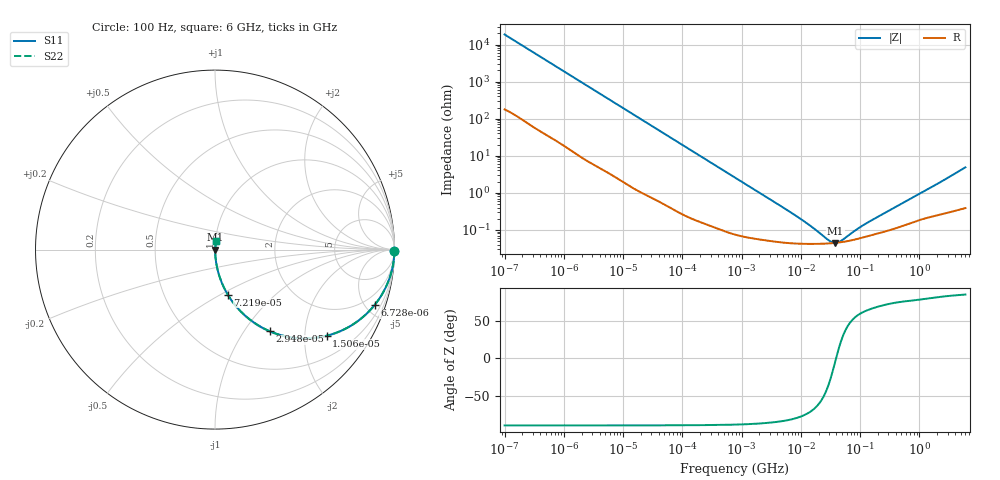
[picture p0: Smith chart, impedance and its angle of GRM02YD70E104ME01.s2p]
!Murata Part Number: GRM02YD70E104ME01
!These Parameters are Measured in Series Mode Connection
!Data Generated on Mar 30, 2021
!  o--ll--o
!Port1  Port2
!  o------o
!Operation Temp=25[degC], DC Bias Voltage=0[V]
!Freq. Start=100[Hz] Stop=6[GHz] 401[Steps]
# Hz S RI R 50
!Freq.(Hz) S11(Real) S11(Imag) S21(Real) S21(Imag) S12(Real) S12(Imag) S22(Real) S22(Imag)
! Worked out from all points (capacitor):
!   401 points, 100 Hz to 6 GHz, reference 50 ohm
!   read as one part in series: C = 84.6 nF near 109 Hz
!   lowest |Z| = 44.4 mohm at 38.09 MHz (marker M1)
!   series resonance near 39.29 MHz, so ESL is about 190 pH
!   S11 on the Smith chart (normalised r, x): 100 Hz: open; 6.728 kHz: 1.06, -5.73; 15.06 kHz: 1.03, -2.57; 29.48 kHz: 1.01, -1.32; 72.19 kHz: 1.01, -0.54; 6 GHz: 1.01, +0.10
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100  0.9999 -0.00533  7.88e-05 0.00533  7.88e-05 0.00533  0.9999 -0.00533
627  0.9986 -0.033  0.00141 0.033  0.00141 0.033  0.9986 -0.033
2008  0.9882 -0.1036  0.0118 0.1036  0.0118 0.1036  0.9882 -0.1036
4111  0.9544 -0.2038  0.0456 0.2038  0.0456 0.2038  0.9544 -0.2038
6728  0.8889 -0.3092  0.1111 0.3092  0.1111 0.3092  0.8889 -0.3092
10066  0.7842 -0.4064  0.2158 0.4064  0.2158 0.4064  0.7842 -0.4064
15062  0.6219 -0.4799  0.3781 0.4799  0.3781 0.4799  0.6219 -0.4799
20606  0.4702 -0.4939  0.5298 0.4939  0.5298 0.4939  0.4702 -0.4939
29482  0.3051 -0.4548  0.6949 0.4548  0.6949 0.4548  0.3051 -0.4548
40335  0.1922 -0.3881  0.8078 0.3881  0.8078 0.3881  0.1922 -0.3881
72189  0.0713 -0.251  0.9287 0.251  0.9287 0.251  0.0713 -0.251
202169  0.011 -0.0963  0.989 0.0963  0.989 0.0963  0.011 -0.0963
774597  0.0014 -0.0257  0.9986 0.0257  0.9986 0.0257  0.0014 -0.0257
6075234  0.000449 -0.00327  0.9996 0.00327  0.9996 0.00327  0.000449 -0.00327
1.555665e7  0.000417 -0.0011  0.9996 0.0011  0.9996 0.0011  0.000417 -0.0011
2.911731e7  0.000428 -0.000312  0.9996 0.000312  0.9996 0.000312  0.000428 -0.000312
3.330331e7  0.000434 -0.00017  0.9996 0.00017  0.9996 0.00017  0.000434 -0.00017
3.80911e7  0.000443 -3.14e-05  0.9996 3.14e-05  0.9996 3.14e-05  0.000443 -3.14e-05
4.764863e7  0.000462 0.000196  0.9995 -0.000196  0.9995 -0.000196  0.000462 0.000196
1.066761e8  0.000609 0.0011  0.9994 -0.0011  0.9994 -0.0011  0.000609 0.0011
3.124326e8  0.000981 0.00318  0.999 -0.00318  0.999 -0.00318  0.000981 0.00318
6e9  0.00615 0.0479  0.9938 -0.0479  0.9938 -0.0479  0.00615 0.0479
